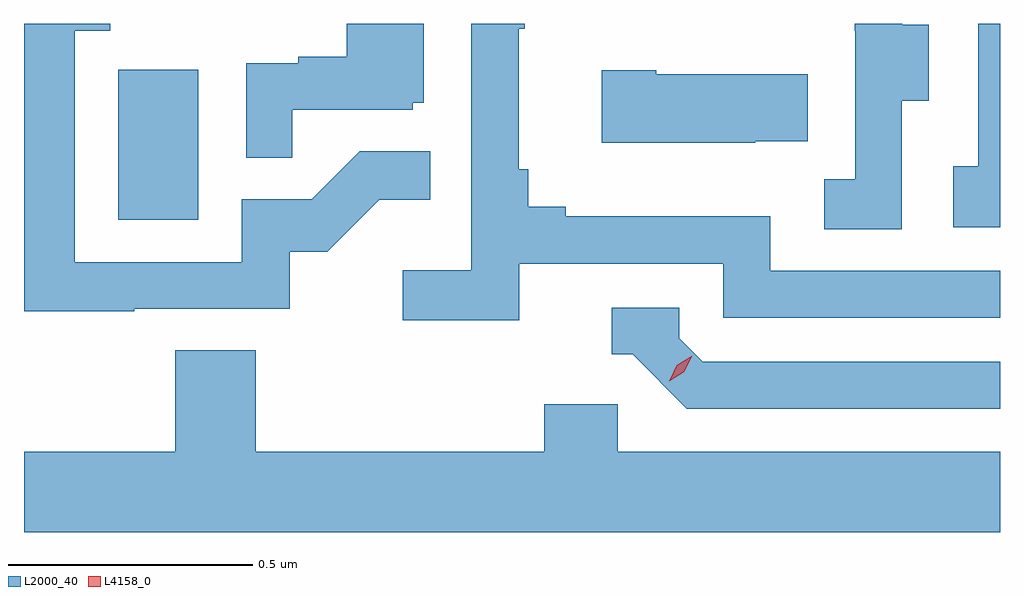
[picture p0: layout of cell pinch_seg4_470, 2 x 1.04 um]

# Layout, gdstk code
import gdstk
lib = gdstk.Library(unit=1e-6, precision=1e-09)
def R(c, l, rs):  # rectangles x0, y0, x1, y1
    for r in rs: c.add(gdstk.rectangle(r[:2], r[2:], *l))
def P(c, l, *ps):  # polygons
    for p in ps: c.add(gdstk.Polygon(p, *l))
L2000_40 = (2000, 40)
L4158_0 = (4158, 0)

pinch_seg4_470 = lib.new_cell('pinch_seg4_470')
R(pinch_seg4_470, L2000_40, [(912.794,765.492,912.958,765.799)])
P(pinch_seg4_470, L2000_40, [(913.616,765.402),(914.034,765.402),(914.034,765.291),(914.601,765.291),(914.601,765.387),(914.13,765.387),(914.13,765.499),(913.711,765.499),(913.711,765.518),(913.634,765.518),(913.634,765.595),(913.615,765.595),(913.615,765.883),(913.627,765.883),(913.627,765.893),(913.518,765.893),(913.518,765.388),(913.377,765.388),(913.377,765.286),(913.616,765.286)],
  [(913.151,765.717),(913.398,765.717),(913.398,765.732),(913.42,765.732),(913.42,765.893),(913.262,765.893),(913.262,765.826),(913.163,765.826),(913.163,765.813),(913.056,765.813),(913.056,765.619),(913.151,765.619)],
  [(912.827,765.309),(913.146,765.309),(913.146,765.426),(913.222,765.426),(913.329,765.533),(913.433,765.533),(913.433,765.632),(913.289,765.632),(913.191,765.534),(913.047,765.534),(913.047,765.405),(912.705,765.405),(912.705,765.879),(912.778,765.879),(912.778,765.893),(912.601,765.893),(912.601,765.304),(912.827,765.304)],
  [(914.4,765.736),(914.455,765.736),(914.455,765.891),(914.401,765.891),(914.401,765.893),(914.303,765.893),(914.303,765.879),(914.304,765.879),(914.304,765.575),(914.241,765.575),(914.241,765.472),(914.4,765.472)],
  [(914.601,765.893),(914.556,765.893),(914.556,765.602),(914.505,765.602),(914.505,765.477),(914.601,765.477)],
  [(914.099,765.653),(914.207,765.653),(914.207,765.79),(913.897,765.79),(913.897,765.798),(913.785,765.798),(913.785,765.65),(914.099,765.65)],
  [(914.601,765.201),(913.992,765.201),(913.944,765.249),(913.944,765.312),(913.805,765.312),(913.805,765.216),(913.848,765.216),(913.959,765.105),(914.601,765.105)],
  [(914.601,765.016),(913.818,765.016),(913.818,765.114),(913.667,765.114),(913.667,765.016),(913.076,765.016),(913.076,765.224),(912.911,765.224),(912.911,765.016),(912.601,765.016),(912.601,764.852),(914.601,764.852)])
P(pinch_seg4_470, L4158_0, [(913.923,765.161),(913.923,765.161),(913.939,765.194),(913.97,765.213),(913.97,765.213),(913.97,765.213),(913.954,765.18),(913.923,765.161)])

lib.write_gds('pinch_seg4_470.gds')
